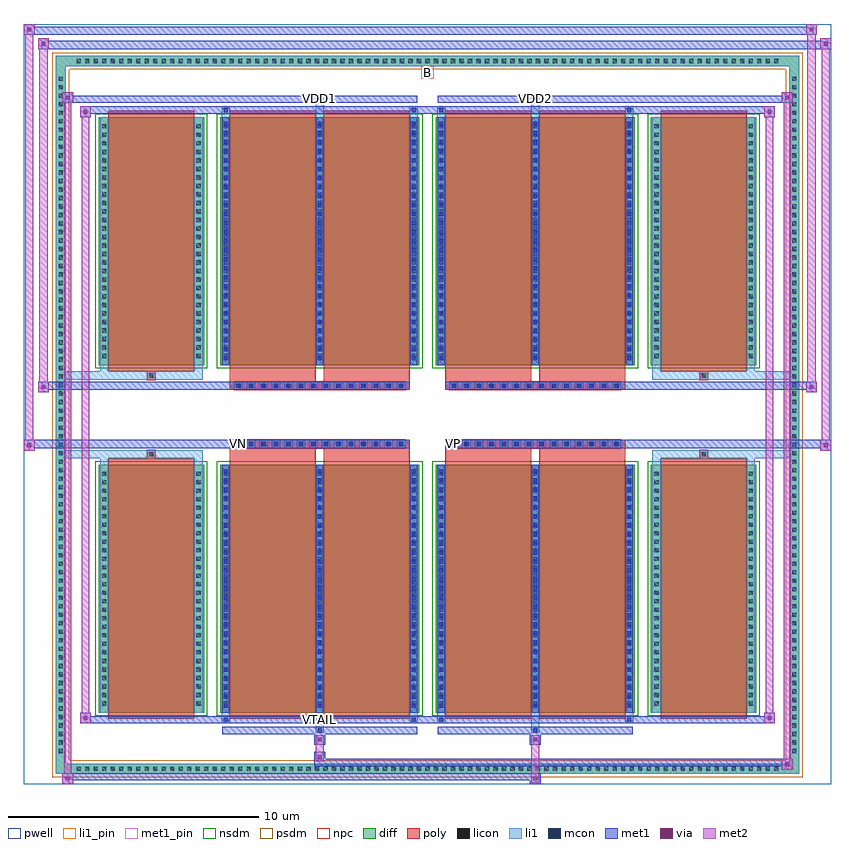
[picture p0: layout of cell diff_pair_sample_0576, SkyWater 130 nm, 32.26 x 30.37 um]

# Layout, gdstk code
import gdstk
lib = gdstk.Library(unit=1e-6, precision=5e-09)
def R(c, l, rs):  # rectangles x0, y0, x1, y1
    for r in rs: c.add(gdstk.rectangle(r[:2], r[2:], *l))
def A(c, l, x, y, w, h, nx, ny, dx, dy):  # array of equal rectangles
    R(c, l, [(x+i*dx, y+j*dy, x+i*dx+w, y+j*dy+h) for i in range(nx) for j in range(ny)])
def P(c, l, *ps):  # polygons
    for p in ps: c.add(gdstk.Polygon(p, *l))
pwell = (64, 44)
diff = (65, 20)
poly = (66, 20)
licon = (66, 44)
li1_pin = (67, 16)
li1 = (67, 20)
mcon = (67, 44)
met1_pin = (68, 16)
met1 = (68, 20)
via = (68, 44)
met2 = (69, 20)
nsdm = (93, 44)
psdm = (94, 20)
npc = (95, 20)

diff_pair_sample_0576 = lib.new_cell('diff_pair_sample_0576')
R(diff_pair_sample_0576, pwell, [(-16.13,-14.75,16.13,15.62), (-13.45,-12.94,-0.01,-0.8), (0.01,-12.94,13.45,-0.8), (-13.45,0.8,-0.01,12.94), (0.01,0.8,13.45,12.94)])
A(diff_pair_sample_0576, diff, -14.145, -14.35, 0.41, 0.41, 83, 2, 0.34, 28.29)
A(diff_pair_sample_0576, diff, -14.86, -13.635, 0.41, 0.41, 1, 80, 0, 0.34)
A(diff_pair_sample_0576, diff, 14.45, -13.635, 0.41, 0.41, 1, 80, 0, 0.34)
R(diff_pair_sample_0576, diff, [(-14.145,-14.35,14.145,-13.94), (-14.86,-13.635,-14.45,13.635), (14.45,-13.635,14.86,13.635), (-13.14,-11.895,-8.93,-1.985), (-8.29,-11.895,-0.32,-1.985), (0.32,-11.895,8.29,-1.985), (8.93,-11.895,13.14,-1.985), (-13.14,1.985,-8.93,11.895), (-8.29,1.985,-0.32,11.895), (0.32,1.985,8.29,11.895), (8.93,1.985,13.14,11.895), (-14.145,13.94,14.145,14.35)])
P(diff_pair_sample_0576, diff, [(14.86,14.35),(-14.86,14.35),(-14.86,-13.94),(-14.45,-13.94),(-14.45,13.94),(14.45,13.94),(14.45,-13.94),(-14.45,-13.94),(-14.86,-13.94),(-14.86,-14.35),(14.86,-14.35)])
A(diff_pair_sample_0576, poly, -7.72, -1.33, 0.33, 0.33, 14, 2, 0.5, 2.33)
A(diff_pair_sample_0576, poly, 0.89, -1.33, 0.33, 0.33, 14, 2, 0.5, 2.33)
R(diff_pair_sample_0576, poly, [(-12.75,-12.145,-9.32,-1.735), (-7.9,-12.145,-4.47,-1.735), (-4.14,-12.145,-0.71,-1.735), (0.71,-12.145,4.14,-1.735), (4.47,-12.145,7.9,-1.735), (9.32,-12.145,12.75,-1.735), (-11.2,-1.735,-10.87,-1.405), (-11.2,-1.735,-10.87,-1.405), (-7.9,-1.735,-4.47,-1.33), (-4.14,-1.735,-0.71,-1.33), (0.71,-1.735,4.14,-1.33), (4.47,-1.735,7.9,-1.33), (10.87,-1.735,11.2,-1.405), (10.87,-1.735,11.2,-1.405), (-7.9,-1.33,-0.71,-1), (0.71,-1.33,7.9,-1), (-7.9,1,-0.71,1.33), (0.71,1,7.9,1.33), (-7.9,1.33,-4.47,1.735), (-4.14,1.33,-0.71,1.735), (0.71,1.33,4.14,1.735), (4.47,1.33,7.9,1.735), (-11.2,1.405,-10.87,1.735), (-11.2,1.405,-10.87,1.735), (10.87,1.405,11.2,1.735), (10.87,1.405,11.2,1.735), (-12.75,1.735,-9.32,12.145), (-7.9,1.735,-4.47,12.145), (-4.14,1.735,-0.71,12.145), (0.71,1.735,4.14,12.145), (4.47,1.735,7.9,12.145), (9.32,1.735,12.75,12.145)])
A(diff_pair_sample_0576, licon, -14.025, -14.23, 0.17, 0.17, 83, 2, 0.34, 28.29)
A(diff_pair_sample_0576, licon, -14.74, -13.515, 0.17, 0.17, 1, 80, 0, 0.34)
A(diff_pair_sample_0576, licon, 14.57, -13.515, 0.17, 0.17, 1, 80, 0, 0.34)
A(diff_pair_sample_0576, licon, -13, -11.615, 0.17, 0.17, 1, 28, 0, 0.34)
A(diff_pair_sample_0576, licon, -9.24, -11.615, 0.17, 0.17, 1, 28, 0, 0.34)
A(diff_pair_sample_0576, licon, -8.15, -11.615, 0.17, 0.17, 3, 28, 3.76, 0.34)
A(diff_pair_sample_0576, licon, 0.46, -11.615, 0.17, 0.17, 3, 28, 3.76, 0.34)
A(diff_pair_sample_0576, licon, 9.07, -11.615, 0.17, 0.17, 1, 28, 0, 0.34)
A(diff_pair_sample_0576, licon, 12.83, -11.615, 0.17, 0.17, 1, 28, 0, 0.34)
A(diff_pair_sample_0576, licon, -7.64, -1.25, 0.17, 0.17, 14, 2, 0.5, 2.33)
A(diff_pair_sample_0576, licon, 0.97, -1.25, 0.17, 0.17, 14, 2, 0.5, 2.33)
A(diff_pair_sample_0576, licon, -13, 2.265, 0.17, 0.17, 1, 28, 0, 0.34)
A(diff_pair_sample_0576, licon, -9.24, 2.265, 0.17, 0.17, 1, 28, 0, 0.34)
A(diff_pair_sample_0576, licon, -8.15, 2.265, 0.17, 0.17, 3, 28, 3.76, 0.34)
A(diff_pair_sample_0576, licon, 0.46, 2.265, 0.17, 0.17, 3, 28, 3.76, 0.34)
A(diff_pair_sample_0576, licon, 9.07, 2.265, 0.17, 0.17, 1, 28, 0, 0.34)
A(diff_pair_sample_0576, licon, 12.83, 2.265, 0.17, 0.17, 1, 28, 0, 0.34)
R(diff_pair_sample_0576, licon, [(-11.12,-1.655,-10.95,-1.485), (10.95,-1.655,11.12,-1.485), (-11.12,1.485,-10.95,1.655), (10.95,1.485,11.12,1.655)])
R(diff_pair_sample_0576, li1_pin, [(-0.25,13.44,0.25,13.94)])
A(diff_pair_sample_0576, li1, -14.105, -14.31, 0.33, 0.33, 83, 2, 0.34, 28.29)
A(diff_pair_sample_0576, li1, -14.82, -13.595, 0.33, 0.33, 1, 80, 0, 0.34)
A(diff_pair_sample_0576, li1, 14.49, -13.595, 0.33, 0.33, 1, 80, 0, 0.34)
A(diff_pair_sample_0576, li1, -8.23, -11.895, 0.33, 9.91, 3, 2, 3.76, 13.88)
A(diff_pair_sample_0576, li1, 0.38, -11.895, 0.33, 9.91, 3, 2, 3.76, 13.88)
A(diff_pair_sample_0576, li1, -8.15, -11.705, 0.17, 0.17, 3, 27, 3.76, 0.36)
A(diff_pair_sample_0576, li1, -8.15, -11.705, 0.17, 9.53, 3, 2, 3.76, 13.88)
A(diff_pair_sample_0576, li1, 0.46, -11.705, 0.17, 0.17, 3, 27, 3.76, 0.36)
A(diff_pair_sample_0576, li1, 0.46, -11.705, 0.17, 9.53, 3, 2, 3.76, 13.88)
A(diff_pair_sample_0576, li1, -13.08, -11.695, 0.33, 0.33, 1, 28, 0, 0.34)
A(diff_pair_sample_0576, li1, -9.32, -11.695, 0.33, 0.33, 1, 28, 0, 0.34)
A(diff_pair_sample_0576, li1, -8.23, -11.695, 0.33, 0.33, 3, 28, 3.76, 0.34)
A(diff_pair_sample_0576, li1, 0.38, -11.695, 0.33, 0.33, 3, 28, 3.76, 0.34)
A(diff_pair_sample_0576, li1, 8.99, -11.695, 0.33, 0.33, 1, 28, 0, 0.34)
A(diff_pair_sample_0576, li1, 12.75, -11.695, 0.33, 0.33, 1, 28, 0, 0.34)
A(diff_pair_sample_0576, li1, -7.72, -1.33, 0.33, 0.33, 14, 2, 0.5, 2.33)
A(diff_pair_sample_0576, li1, 0.89, -1.33, 0.33, 0.33, 14, 2, 0.5, 2.33)
A(diff_pair_sample_0576, li1, -8.15, 2.175, 0.17, 0.17, 3, 27, 3.76, 0.36)
A(diff_pair_sample_0576, li1, 0.46, 2.175, 0.17, 0.17, 3, 27, 3.76, 0.36)
A(diff_pair_sample_0576, li1, -13.08, 2.185, 0.33, 0.33, 1, 28, 0, 0.34)
A(diff_pair_sample_0576, li1, -9.32, 2.185, 0.33, 0.33, 1, 28, 0, 0.34)
A(diff_pair_sample_0576, li1, -8.23, 2.185, 0.33, 0.33, 3, 28, 3.76, 0.34)
A(diff_pair_sample_0576, li1, 0.38, 2.185, 0.33, 0.33, 3, 28, 3.76, 0.34)
A(diff_pair_sample_0576, li1, 8.99, 2.185, 0.33, 0.33, 1, 28, 0, 0.34)
A(diff_pair_sample_0576, li1, 12.75, 2.185, 0.33, 0.33, 1, 28, 0, 0.34)
R(diff_pair_sample_0576, li1, [(-14.86,-14.35,-14.45,-13.94), (-14.86,-14.35,-14.45,-13.94), (-14.45,-14.35,14.45,-13.94), (14.45,-14.35,14.86,-13.94), (14.45,-14.35,14.86,-13.94), (-14.86,-13.94,-14.45,13.94), (14.45,-13.94,14.86,13.94), (-4.47,-12.7,-4.14,-11.895), (-4.39,-12.7,-4.22,-12.53), (4.14,-12.7,4.47,-11.895), (4.22,-12.7,4.39,-12.53), (-8.23,-12.27,-7.9,-11.895), (-8.15,-12.27,-7.98,-12.1), (-0.71,-12.27,-0.38,-11.895), (-0.63,-12.27,-0.46,-12.1), (0.38,-12.27,0.71,-11.895), (0.46,-12.27,0.63,-12.1), (7.9,-12.27,8.23,-11.895), (7.98,-12.27,8.15,-12.1), (-13.08,-11.895,-12.75,-1.985), (-9.32,-11.895,-8.99,-1.985), (8.99,-11.895,9.32,-1.985), (12.75,-11.895,13.08,-1.985), (-13.08,-1.985,-12.75,-1.405), (-9.32,-1.985,-8.99,-1.405), (8.99,-1.985,9.32,-1.405), (12.75,-1.985,13.08,-1.405), (-14.86,-1.735,-11.2,-1.405), (-13.08,-1.735,-11.2,-1.405), (-11.2,-1.735,-10.87,-1.405), (-10.87,-1.735,-8.99,-1.405), (8.99,-1.735,10.87,-1.405), (10.87,-1.735,11.2,-1.405), (10.87,-1.735,14.86,-1.405), (11.2,-1.735,13.08,-1.405), (-14.86,1.405,-11.2,1.735), (-13.08,1.405,-11.2,1.735), (-13.08,1.405,-12.75,1.985), (-11.2,1.405,-10.87,1.735), (-10.87,1.405,-8.99,1.735), (-9.32,1.405,-8.99,1.985), (8.99,1.405,10.87,1.735), (8.99,1.405,9.32,1.985), (10.87,1.405,11.2,1.735), (10.87,1.405,14.86,1.735), (11.2,1.405,13.08,1.735), (12.75,1.405,13.08,1.985), (-13.08,1.985,-12.75,11.895), (-9.32,1.985,-8.99,11.895), (8.99,1.985,9.32,11.895), (12.75,1.985,13.08,11.895), (-8.23,11.895,-7.9,12.27), (-4.47,11.895,-4.14,12.7), (-0.71,11.895,-0.38,12.27), (0.38,11.895,0.71,12.27), (4.14,11.895,4.47,12.7), (7.9,11.895,8.23,12.27), (-8.15,12.1,-7.98,12.27), (-0.63,12.1,-0.46,12.27), (0.46,12.1,0.63,12.27), (7.98,12.1,8.15,12.27), (-4.39,12.53,-4.22,12.7), (4.22,12.53,4.39,12.7), (-14.86,13.94,-14.45,14.35), (-14.86,13.94,-14.45,14.35), (-14.45,13.94,14.45,14.35), (14.45,13.94,14.86,14.35), (14.45,13.94,14.86,14.35)])
A(diff_pair_sample_0576, mcon, -8.15, -11.705, 0.17, 0.17, 3, 27, 3.76, 0.36)
A(diff_pair_sample_0576, mcon, 0.46, -11.705, 0.17, 0.17, 3, 27, 3.76, 0.36)
A(diff_pair_sample_0576, mcon, -7.64, -1.25, 0.17, 0.17, 14, 2, 0.5, 2.33)
A(diff_pair_sample_0576, mcon, 0.97, -1.25, 0.17, 0.17, 14, 2, 0.5, 2.33)
A(diff_pair_sample_0576, mcon, -8.15, 2.175, 0.17, 0.17, 3, 27, 3.76, 0.36)
A(diff_pair_sample_0576, mcon, 0.46, 2.175, 0.17, 0.17, 3, 27, 3.76, 0.36)
R(diff_pair_sample_0576, mcon, [(-4.39,-12.7,-4.22,-12.53), (4.22,-12.7,4.39,-12.53), (-8.15,-12.27,-7.98,-12.1), (-0.63,-12.27,-0.46,-12.1), (0.46,-12.27,0.63,-12.1), (7.98,-12.27,8.15,-12.1), (-8.15,12.1,-7.98,12.27), (-0.63,12.1,-0.46,12.27), (0.46,12.1,0.63,12.27), (7.98,12.1,8.15,12.27), (-4.39,12.53,-4.22,12.7), (4.22,12.53,4.39,12.7)])
R(diff_pair_sample_0576, met1_pin, [(-4.44,-12.31,-4.17,-12.04), (-7.69,-1.29,-7.42,-1.02), (0.92,-1.29,1.19,-1.02), (-4.44,12.49,-4.17,12.76), (4.17,12.49,4.44,12.76)])
A(diff_pair_sample_0576, met1, -8.21, -11.895, 0.29, 9.91, 3, 2, 3.76, 13.88)
A(diff_pair_sample_0576, met1, 0.4, -11.895, 0.29, 9.91, 3, 2, 3.76, 13.88)
A(diff_pair_sample_0576, met1, -8.21, -11.765, 0.29, 0.29, 3, 27, 3.76, 0.36)
A(diff_pair_sample_0576, met1, 0.4, -11.765, 0.29, 0.29, 3, 27, 3.76, 0.36)
A(diff_pair_sample_0576, met1, -7.7, -1.31, 0.29, 0.29, 14, 2, 0.5, 2.33)
A(diff_pair_sample_0576, met1, 0.91, -1.31, 0.29, 0.29, 14, 2, 0.5, 2.33)
A(diff_pair_sample_0576, met1, -8.21, 2.115, 0.29, 0.29, 3, 27, 3.76, 0.36)
A(diff_pair_sample_0576, met1, 0.4, 2.115, 0.29, 0.29, 3, 27, 3.76, 0.36)
R(diff_pair_sample_0576, met1, [(-14.59,-14.75,-14.16,-14.32), (4.09,-14.75,4.52,-14.32), (-14.59,-14.61,4.52,-14.32), (14.16,-14.18,14.59,-13.75), (-4.52,-14.04,14.59,-13.75), (-4.52,-13.9,-4.09,-13.47), (-4.52,-13.19,-4.09,-12.76), (4.09,-13.19,4.52,-12.76), (-8.21,-12.76,-0.4,-12.47), (-4.45,-12.76,-4.16,-12.47), (0.4,-12.76,8.21,-12.47), (4.16,-12.76,4.45,-12.47), (-13.88,-12.33,-13.45,-11.9), (-13.88,-12.33,-8.21,-12.04), (-8.21,-12.33,-7.92,-12.04), (-8.21,-12.33,-0.4,-12.04), (-0.69,-12.33,-0.4,-12.04), (-0.4,-12.33,0.4,-12.04), (0.4,-12.33,0.69,-12.04), (0.4,-12.33,8.21,-12.04), (7.92,-12.33,8.21,-12.04), (8.21,-12.33,13.88,-12.04), (13.45,-12.33,13.88,-11.9), (-16.13,-1.43,-15.7,-1), (15.7,-1.43,16.13,-1), (-16.13,-1.33,-0.71,-1), (-7.9,-1.33,-0.71,-1), (0.71,-1.33,7.9,-1), (0.71,-1.33,16.13,-1), (-15.56,0.9,-15.13,1.33), (15.13,0.9,15.56,1.33), (-15.56,1,-7.9,1.33), (-7.9,1,-0.71,1.33), (0.71,1,7.9,1.33), (7.9,1,15.56,1.33), (-13.88,11.9,-13.45,12.33), (13.45,11.9,13.88,12.33), (-13.88,12.04,-8.21,12.33), (-8.21,12.04,-7.92,12.33), (-8.21,12.04,-0.4,12.33), (-0.69,12.04,-0.4,12.33), (-0.4,12.04,0.4,12.33), (0.4,12.04,0.69,12.33), (0.4,12.04,8.21,12.33), (7.92,12.04,8.21,12.33), (8.21,12.04,13.88,12.33), (-14.59,12.47,-14.16,12.9), (-14.59,12.47,-8.21,12.76), (-8.21,12.47,-0.4,12.76), (-4.45,12.47,-4.16,12.76), (0.4,12.47,8.21,12.76), (4.16,12.47,4.45,12.76), (8.21,12.47,14.59,12.76), (14.16,12.47,14.59,12.9), (-15.56,14.62,-15.13,15.05), (-15.56,14.62,-13.45,14.95), (-13.45,14.62,13.45,14.95), (13.45,14.62,16.13,14.95), (15.7,14.62,16.13,15.05), (-16.13,15.19,-15.7,15.62), (-16.13,15.19,-13.45,15.52), (-13.45,15.19,13.45,15.52), (13.45,15.19,15.56,15.52), (15.13,15.19,15.56,15.62)])
R(diff_pair_sample_0576, via, [(-14.45,-14.61,-14.3,-14.46), (4.23,-14.61,4.38,-14.46), (14.3,-14.04,14.45,-13.89), (-4.38,-13.76,-4.23,-13.61), (-4.38,-13.05,-4.23,-12.9), (4.23,-13.05,4.38,-12.9), (-13.74,-12.19,-13.59,-12.04), (13.59,-12.19,13.74,-12.04), (-15.99,-1.29,-15.84,-1.14), (15.84,-1.29,15.99,-1.14), (-15.42,1.04,-15.27,1.19), (15.27,1.04,15.42,1.19), (-13.74,12.04,-13.59,12.19), (13.59,12.04,13.74,12.19), (-14.45,12.61,-14.3,12.76), (14.3,12.61,14.45,12.76), (-15.42,14.76,-15.27,14.91), (15.84,14.76,15.99,14.91), (-15.99,15.33,-15.84,15.48), (15.27,15.33,15.42,15.48)])
R(diff_pair_sample_0576, met2, [(-14.59,-14.75,-14.16,-14.32), (-14.52,-14.75,-14.23,12.9), (-14.23,-14.75,-14.16,-14.32), (-14.54,-14.7,-14.21,-14.37), (4.14,-14.7,4.47,-14.37), (4.14,-14.37,4.47,-13.14), (14.16,-14.18,14.59,-13.75), (14.23,-14.18,14.52,12.9), (14.52,-14.18,14.59,-13.75), (14.21,-14.13,14.54,-13.8), (-4.47,-13.85,-4.14,-13.52), (-4.47,-13.52,-4.14,-13.14), (-4.47,-13.14,-4.14,-12.81), (4.14,-13.14,4.47,-12.81), (-13.88,-12.33,-13.45,-11.9), (-13.81,-12.33,-13.52,12.33), (-13.52,-12.33,-13.45,-11.9), (13.45,-12.33,13.88,-11.9), (13.52,-12.33,13.81,12.33), (13.81,-12.33,13.88,-11.9), (-13.83,-12.28,-13.5,-11.95), (13.5,-12.28,13.83,-11.95), (-16.13,-1.43,-15.7,-1), (-16.08,-1.43,-15.75,15.62), (-15.75,-1.43,-15.7,-1), (15.7,-1.43,16.13,-1), (15.75,-1.43,16.08,15.05), (16.08,-1.43,16.13,-1), (-16.08,-1.38,-15.75,-1.05), (15.75,-1.38,16.08,-1.05), (-15.56,0.9,-15.13,1.33), (-15.51,0.9,-15.18,15.05), (-15.18,0.9,-15.13,1.33), (15.13,0.9,15.56,1.33), (15.18,0.9,15.51,15.62), (15.51,0.9,15.56,1.33), (-15.51,0.95,-15.18,1.28), (15.18,0.95,15.51,1.28), (-13.88,11.9,-13.45,12.33), (-13.52,11.9,-13.45,12.33), (13.45,11.9,13.88,12.33), (13.81,11.9,13.88,12.33), (-13.83,11.95,-13.5,12.28), (13.5,11.95,13.83,12.28), (-14.59,12.47,-14.16,12.9), (-14.23,12.47,-14.16,12.9), (14.16,12.47,14.59,12.9), (14.52,12.47,14.59,12.9), (-14.54,12.52,-14.21,12.85), (14.21,12.52,14.54,12.85), (-15.56,14.62,-15.13,15.05), (-15.18,14.62,-15.13,15.05), (15.7,14.62,16.13,15.05), (16.08,14.62,16.13,15.05), (-15.51,14.67,-15.18,15), (15.75,14.67,16.08,15), (-16.13,15.19,-15.7,15.62), (-15.75,15.19,-15.7,15.62), (15.13,15.19,15.56,15.62), (15.51,15.19,15.56,15.62), (-16.08,15.24,-15.75,15.57), (15.18,15.24,15.51,15.57)])
R(diff_pair_sample_0576, nsdm, [(-13.27,-12.025,-8.8,-1.855), (-8.42,-12.025,-0.19,-1.855), (0.19,-12.025,8.42,-1.855), (8.8,-12.025,13.27,-1.855), (-13.27,1.855,-8.8,12.025), (-8.42,1.855,-0.19,12.025), (0.19,1.855,8.42,12.025), (8.8,1.855,13.27,12.025)])
P(diff_pair_sample_0576, psdm, [(14.99,14.48),(-14.99,14.48),(-14.99,-13.81),(-14.32,-13.81),(-14.32,13.81),(14.32,13.81),(14.32,-13.81),(-14.32,-13.81),(-14.99,-13.81),(-14.99,-14.48),(14.99,-14.48)])
A(diff_pair_sample_0576, npc, -7.74, -1.35, 0.37, 0.37, 14, 2, 0.5, 2.33)
A(diff_pair_sample_0576, npc, 0.87, -1.35, 0.37, 0.37, 14, 2, 0.5, 2.33)
R(diff_pair_sample_0576, npc, [(-11.22,-1.755,-10.85,-1.385), (10.85,-1.755,11.22,-1.385), (-7.74,-1.35,-6.87,-0.98), (-7.74,-1.35,-6.87,-0.98), (-7.24,-1.35,-6.37,-0.98), (-7.24,-1.35,-6.37,-0.98), (-6.74,-1.35,-5.87,-0.98), (-6.74,-1.35,-5.87,-0.98), (-6.24,-1.35,-5.37,-0.98), (-6.24,-1.35,-5.37,-0.98), (-5.74,-1.35,-4.87,-0.98), (-5.74,-1.35,-4.87,-0.98), (-5.24,-1.35,-4.37,-0.98), (-5.24,-1.35,-4.37,-0.98), (-4.74,-1.35,-3.87,-0.98), (-4.74,-1.35,-3.87,-0.98), (-4.24,-1.35,-3.37,-0.98), (-4.24,-1.35,-3.37,-0.98), (-3.74,-1.35,-2.87,-0.98), (-3.74,-1.35,-2.87,-0.98), (-3.24,-1.35,-2.37,-0.98), (-3.24,-1.35,-2.37,-0.98), (-2.74,-1.35,-1.87,-0.98), (-2.74,-1.35,-1.87,-0.98), (-2.24,-1.35,-1.37,-0.98), (-2.24,-1.35,-1.37,-0.98), (-1.74,-1.35,-0.87,-0.98), (-1.74,-1.35,-0.87,-0.98), (0.87,-1.35,1.74,-0.98), (0.87,-1.35,1.74,-0.98), (1.37,-1.35,2.24,-0.98), (1.37,-1.35,2.24,-0.98), (1.87,-1.35,2.74,-0.98), (1.87,-1.35,2.74,-0.98), (2.37,-1.35,3.24,-0.98), (2.37,-1.35,3.24,-0.98), (2.87,-1.35,3.74,-0.98), (2.87,-1.35,3.74,-0.98), (3.37,-1.35,4.24,-0.98), (3.37,-1.35,4.24,-0.98), (3.87,-1.35,4.74,-0.98), (3.87,-1.35,4.74,-0.98), (4.37,-1.35,5.24,-0.98), (4.37,-1.35,5.24,-0.98), (4.87,-1.35,5.74,-0.98), (4.87,-1.35,5.74,-0.98), (5.37,-1.35,6.24,-0.98), (5.37,-1.35,6.24,-0.98), (5.87,-1.35,6.74,-0.98), (5.87,-1.35,6.74,-0.98), (6.37,-1.35,7.24,-0.98), (6.37,-1.35,7.24,-0.98), (6.87,-1.35,7.74,-0.98), (6.87,-1.35,7.74,-0.98), (-7.74,0.98,-6.87,1.35), (-7.74,0.98,-6.87,1.35), (-7.24,0.98,-6.37,1.35), (-7.24,0.98,-6.37,1.35), (-6.74,0.98,-5.87,1.35), (-6.74,0.98,-5.87,1.35), (-6.24,0.98,-5.37,1.35), (-6.24,0.98,-5.37,1.35), (-5.74,0.98,-4.87,1.35), (-5.74,0.98,-4.87,1.35), (-5.24,0.98,-4.37,1.35), (-5.24,0.98,-4.37,1.35), (-4.74,0.98,-3.87,1.35), (-4.74,0.98,-3.87,1.35), (-4.24,0.98,-3.37,1.35), (-4.24,0.98,-3.37,1.35), (-3.74,0.98,-2.87,1.35), (-3.74,0.98,-2.87,1.35), (-3.24,0.98,-2.37,1.35), (-3.24,0.98,-2.37,1.35), (-2.74,0.98,-1.87,1.35), (-2.74,0.98,-1.87,1.35), (-2.24,0.98,-1.37,1.35), (-2.24,0.98,-1.37,1.35), (-1.74,0.98,-0.87,1.35), (-1.74,0.98,-0.87,1.35), (0.87,0.98,1.74,1.35), (0.87,0.98,1.74,1.35), (1.37,0.98,2.24,1.35), (1.37,0.98,2.24,1.35), (1.87,0.98,2.74,1.35), (1.87,0.98,2.74,1.35), (2.37,0.98,3.24,1.35), (2.37,0.98,3.24,1.35), (2.87,0.98,3.74,1.35), (2.87,0.98,3.74,1.35), (3.37,0.98,4.24,1.35), (3.37,0.98,4.24,1.35), (3.87,0.98,4.74,1.35), (3.87,0.98,4.74,1.35), (4.37,0.98,5.24,1.35), (4.37,0.98,5.24,1.35), (4.87,0.98,5.74,1.35), (4.87,0.98,5.74,1.35), (5.37,0.98,6.24,1.35), (5.37,0.98,6.24,1.35), (5.87,0.98,6.74,1.35), (5.87,0.98,6.74,1.35), (6.37,0.98,7.24,1.35), (6.37,0.98,7.24,1.35), (6.87,0.98,7.74,1.35), (6.87,0.98,7.74,1.35), (-11.22,1.385,-10.85,1.755), (10.85,1.385,11.22,1.755)])
diff_pair_sample_0576.add(gdstk.Label('VTAIL', (-4.305,-12.175), layer=68, texttype=5))
diff_pair_sample_0576.add(gdstk.Label('VN', (-7.555,-1.155), layer=68, texttype=5))
diff_pair_sample_0576.add(gdstk.Label('VP', (1.055,-1.155), layer=68, texttype=5))
diff_pair_sample_0576.add(gdstk.Label('B', (0,13.69), layer=67, texttype=5))
diff_pair_sample_0576.add(gdstk.Label('VDD2', (4.305,12.625), layer=68, texttype=5))
diff_pair_sample_0576.add(gdstk.Label('VDD1', (-4.305,12.625), layer=68, texttype=5))

lib.write_gds('diff_pair_sample_0576.gds')
